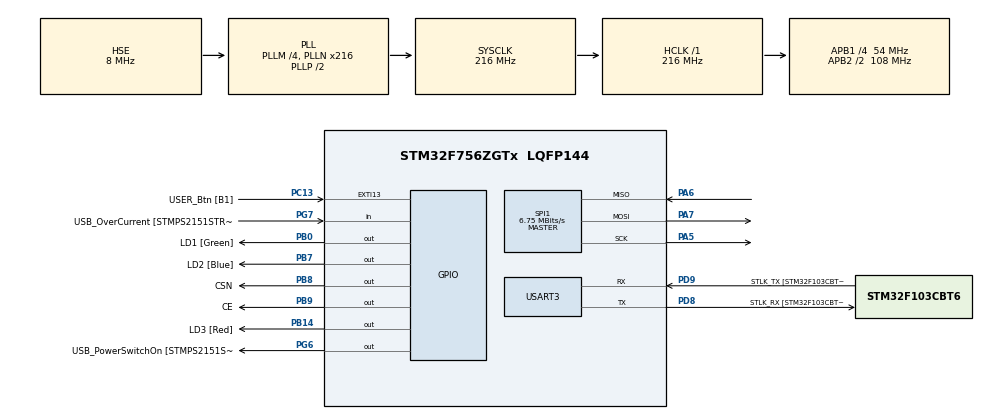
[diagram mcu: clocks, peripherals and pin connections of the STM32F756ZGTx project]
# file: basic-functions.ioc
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Mcu.Family=STM32F7
Mcu.Name=STM32F756ZGTx
Mcu.Package=LQFP144
NVIC.PriorityGroup=NVIC_PRIORITYGROUP_4
PA1.GPIO_Label=RMII_REF_CLK [LAN8742A-CZ-TR_REFCLK0]
PA1.Signal=ETH_REF_CLK
PA10.GPIO_Label=USB_ID
PA10.Signal=USB_OTG_FS_ID
PA11.GPIO_Label=USB_DM
PA11.Signal=USB_OTG_FS_DM
PA12.GPIO_Label=USB_DP
PA12.Signal=USB_OTG_FS_DP
PA13.GPIO_Label=TMS
PA13.Mode=Serial_Wire
PA13.Signal=SYS_JTMS-SWDIO
PA14.GPIO_Label=TCK
PA14.Mode=Serial_Wire
PA14.Signal=SYS_JTCK-SWCLK
PA2.GPIO_Label=RMII_MDIO [LAN8742A-CZ-TR_MDIO]
PA2.Signal=ETH_MDIO
PA5.Mode=Full_Duplex_Master
PA5.Signal=SPI1_SCK
PA6.Mode=Full_Duplex_Master
PA6.Signal=SPI1_MISO
PA7.Mode=Full_Duplex_Master
PA7.Signal=SPI1_MOSI
PA8.GPIO_Label=USB_SOF [TP1]
PA8.Signal=USB_OTG_FS_SOF
PA9.GPIO_Label=USB_VBUS
PA9.Signal=USB_OTG_FS_VBUS
PB0.GPIO_Label=LD1 [Green]
PB0.Signal=GPIO_Output
PB13.GPIO_Label=RMII_TXD1 [LAN8742A-CZ-TR_TXD1]
PB13.Signal=ETH_TXD1
PB14.GPIO_Label=LD3 [Red]
PB14.Signal=GPIO_Output
PB3.GPIO_Label=SW0
PB3.Signal=SYS_JTDO-SWO
PB7.GPIO_Label=LD2 [Blue]
PB7.Signal=GPIO_Output
PB8.GPIO_Label=CSN
PB8.Signal=GPIO_Output
PB9.GPIO_Label=CE
PB9.GPIO_Speed=GPIO_SPEED_FREQ_MEDIUM
PB9.Signal=GPIO_Output
PC1.GPIO_Label=RMII_MDC [LAN8742A-CZ-TR_MDC]
PC1.Signal=ETH_MDC
PC13.GPIO_Label=USER_Btn [B1]
PC13.Signal=GPXTI13
PC14/OSC32_IN.Mode=LSE-External-Oscillator
PC14/OSC32_IN.Signal=RCC_OSC32_IN
PC15/OSC32_OUT.Mode=LSE-External-Oscillator
PC15/OSC32_OUT.Signal=RCC_OSC32_OUT
PC4.GPIO_Label=RMII_RXD0 [LAN8742A-CZ-TR_RXD0]
PC4.Signal=ETH_RXD0
PC5.GPIO_Label=RMII_RXD1 [LAN8742A-CZ-TR_RXD1]
PC5.Signal=ETH_RXD1
PD8.GPIO_Label=STLK_RX [STM32F103CBT6_PA3]
PD8.Mode=Asynchronous
PD8.Signal=USART3_TX
PD9.GPIO_Label=STLK_TX [STM32F103CBT6_PA2]
PD9.Mode=Asynchronous
PD9.Signal=USART3_RX
PG11.GPIO_Label=RMII_TX_EN [LAN8742A-CZ-TR_TXEN]
PG11.Signal=ETH_TX_EN
PG13.GPIO_Label=RMII_TXD0 [LAN8742A-CZ-TR_TXD0]
PG13.Signal=ETH_TXD0
PG6.GPIO_Label=USB_PowerSwitchOn [STMPS2151STR_EN]
PG6.Signal=GPIO_Output
PG7.GPIO_Label=USB_OverCurrent [STMPS2151STR_FAULT]
PG7.Signal=GPIO_Input
PH0/OSC_IN.GPIO_Label=MCO [STM32F103CBT6_PA8]
PH0/OSC_IN.Mode=HSE-External-Clock-Source
PH0/OSC_IN.Signal=RCC_OSC_IN
PH1/OSC_OUT.Mode=HSE-External-Clock-Source
PH1/OSC_OUT.Signal=RCC_OSC_OUT
ProjectManager.HeapSize=0x200
ProjectManager.StackSize=0x400
ProjectManager.TargetToolchain=CMake
RCC.48MHZClocksFreq_Value=24000000
RCC.AHBFreq_Value=216000000
RCC.APB1CLKDivider=RCC_HCLK_DIV4
RCC.APB1Freq_Value=54000000
RCC.APB1TimFreq_Value=108000000
RCC.APB2CLKDivider=RCC_HCLK_DIV2
RCC.APB2Freq_Value=108000000
RCC.APB2TimFreq_Value=216000000
RCC.CortexFreq_Value=216000000
RCC.HCLKFreq_Value=216000000
RCC.HSE_VALUE=8000000
RCC.HSI_VALUE=16000000
RCC.PLLM=4
RCC.PLLMUL=RCC_PLL_MUL9
RCC.PLLN=216
RCC.PLLQ=9
RCC.PLLSourceVirtual=RCC_PLLSOURCE_HSE
RCC.PRESCALERUSB=RCC_USBCLKSOURCE_PLL_DIV1_5
RCC.SYSCLKFreq_VALUE=216000000
RCC.SYSCLKSource=RCC_SYSCLKSOURCE_PLLCLK
RCC.SYSCLKSourceVirtual=RCC_SYSCLKSOURCE_PLLCLK
RCC.USBFreq_Value=48000000
RCC.VCOOutputFreq_Value=432000000
SPI1.BaudRatePrescaler=SPI_BAUDRATEPRESCALER_16
SPI1.CalculateBaudRate=6.75 MBits/s
SPI1.DataSize=SPI_DATASIZE_8BIT
SPI1.Direction=SPI_DIRECTION_2LINES
SPI1.Mode=SPI_MODE_MASTER
SPI1.NSSPMode=SPI_NSS_PULSE_DISABLE
SPI1.VirtualType=VM_MASTER
TIM2.AutoReloadPreload=TIM_AUTORELOAD_PRELOAD_ENABLE
TIM2.Channel-Output\ Compare1\ No\ Output=TIM_CHANNEL_1
TIM2.Period=0xffffffff
USART3.VirtualMode-Asynchronous=VM_ASYNC
VP_TIM2_VS_ClockSourceINT.Mode=Internal
VP_TIM2_VS_no_output1.Mode=Output Compare1 No Output
board=NUCLEO-F756ZG

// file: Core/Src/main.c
/* USER CODE BEGIN Header */
/**
  ******************************************************************************
  * @file           : main.c
  * @brief          : Main program body
  ******************************************************************************
  * @attention
  *
  * Copyright (c) 2025 STMicroelectronics.
  * All rights reserved.
  *
  * This software is licensed under terms that can be found in the LICENSE file
  * in the root directory of this software component.
  * If no LICENSE file comes with this software, it is provided AS-IS.
  *
  ******************************************************************************
  */
/* USER CODE END Header */
#include "main.h"

/* USER CODE BEGIN Includes */
#include "inc/hal/config.h"
#include "inc/nRF24.h"
#include "stdarg.h"
#include "stdlib.h"
#include "stdio.h"

/* USER CODE END Includes */

SPI_HandleTypeDef hspi1;

TIM_HandleTypeDef htim2;

UART_HandleTypeDef huart3;

/* USER CODE BEGIN PV */

// Implement the low-level putchar function
int __io_putchar(int ch)
{
    // Transmit one character via UART (blocking)
    HAL_UART_Transmit(&huart3, (uint8_t *)&ch, 1, HAL_MAX_DELAY);
    return ch;
}

// Redirect printf to use __io_putchar
int fputc(int ch, FILE *f)
{
  return __io_putchar(ch);
}
/* USER CODE END PV */

void SystemClock_Config(void);
static void MX_GPIO_Init(void);
static void MX_SPI1_Init(void);
static void MX_USART3_UART_Init(void);
static void MX_TIM2_Init(void);

/* USER CODE BEGIN 0 */
uint8_t address[][6] = { "1Node", "2Node" };
// nrf24_cfg_t config = NRF24_DEFAULT_CFG(8, 9);
nrf24_cfg_t config = NRF24_DEFAULT_CFG((uint8_t)STM_GPIO_ENCODE(1, 8), (uint8_t)STM_GPIO_ENCODE(1, 9));

extern const machine_t *machine;
static spi_handle_t *_spi1;

uint32_t lastShown = 0;
uint32_t totalBytes = 0;
uint32_t lastBytes = 0;

/* USER CODE END 0 */

int main(void)
{

  /* MCU Configuration--------------------------------------------------------*/

  /* Reset of all peripherals, Initializes the Flash interface and the Systick. */
  HAL_Init();

  /* Configure the system clock */
  SystemClock_Config();

  /* Initialize all configured peripherals */
  MX_GPIO_Init();
  MX_SPI1_Init();
  MX_USART3_UART_Init();
  MX_TIM2_Init();
  /* USER CODE BEGIN 2 */
  HAL_Delay(2000);

  nRF24_halInit(&machine);

  _spi1 = machine->spi.open(0, 10, 0);
  nrf24_status_t a = nRF24_init(_spi1, &config);

  printf("init retured: %d\r\n", a);

  uint8_t *buffer = (uint8_t *)malloc(32);
  /* USER CODE END 2 */

  /* Infinite loop */
  /* USER CODE BEGIN WHILE */
  nRF24_setDataRate(NRF24_1MBPS);
  nRF24_setAddressWidth(5u);
  nRF24_setPALevel(NRF24_PA_MIN, true);
  nRF24_setAutoAck(false);

  nRF24_setCrcLength(NRF24_CRC_8);

  nRF24_setChannel(100u);
  nRF24_setPayloadSize(32u);

  nRF24_openWritingPipe(address[!false]);
  nRF24_stopListening();

  nRF24_openReadingPipe(1, (const uint8_t *)address[false]);
  nRF24_startListening();
  nRF24_flushRx();

  while (1) {
    /* USER CODE END WHILE */

    /* USER CODE BEGIN 3 */

    if (nRF24_available()){
      nRF24_read(buffer, 32);
      totalBytes += 32u;
    }

    if ((machine->time.millis() - lastShown) > 1e3){
      uint32_t diff = (totalBytes - lastBytes);
      lastBytes = totalBytes;

      printf("[Stats] Data rate: %lu bytes/s (total: %lu)\r\n", (unsigned long)diff, (unsigned long)totalBytes);

      lastShown = machine->time.millis();
    }
  }
  /* USER CODE END 3 */
}

void SystemClock_Config(void)
{
  RCC_OscInitTypeDef RCC_OscInitStruct = {0};
  RCC_ClkInitTypeDef RCC_ClkInitStruct = {0};

  /** Configure LSE Drive Capability
  */
  HAL_PWR_EnableBkUpAccess();

  /** Configure the main internal regulator output voltage
  */
  __HAL_RCC_PWR_CLK_ENABLE();
  __HAL_PWR_VOLTAGESCALING_CONFIG(PWR_REGULATOR_VOLTAGE_SCALE1);

  /** Initializes the RCC Oscillators according to the specified parameters
  * in the RCC_OscInitTypeDef structure.
  */
  RCC_OscInitStruct.OscillatorType = RCC_OSCILLATORTYPE_HSE;
  RCC_OscInitStruct.HSEState = RCC_HSE_BYPASS;
  RCC_OscInitStruct.PLL.PLLState = RCC_PLL_ON;
  RCC_OscInitStruct.PLL.PLLSource = RCC_PLLSOURCE_HSE;
  RCC_OscInitStruct.PLL.PLLM = 4;
  RCC_OscInitStruct.PLL.PLLN = 216;
  RCC_OscInitStruct.PLL.PLLP = RCC_PLLP_DIV2;
  RCC_OscInitStruct.PLL.PLLQ = 9;
  if (HAL_RCC_OscConfig(&RCC_OscInitStruct) != HAL_OK)
  {
    Error_Handler();
  }

  /** Activate the Over-Drive mode
  */
  if (HAL_PWREx_EnableOverDrive() != HAL_OK)
  {
    Error_Handler();
  }

  /** Initializes the CPU, AHB and APB buses clocks
  */
  RCC_ClkInitStruct.ClockType = RCC_CLOCKTYPE_HCLK|RCC_CLOCKTYPE_SYSCLK
                              |RCC_CLOCKTYPE_PCLK1|RCC_CLOCKTYPE_PCLK2;
  RCC_ClkInitStruct.SYSCLKSource = RCC_SYSCLKSOURCE_PLLCLK;
  RCC_ClkInitStruct.AHBCLKDivider = RCC_SYSCLK_DIV1;
  RCC_ClkInitStruct.APB1CLKDivider = RCC_HCLK_DIV4;
  RCC_ClkInitStruct.APB2CLKDivider = RCC_HCLK_DIV2;

  if (HAL_RCC_ClockConfig(&RCC_ClkInitStruct, FLASH_LATENCY_7) != HAL_OK)
  {
    Error_Handler();
  }
}

static void MX_SPI1_Init(void)
{

  /* SPI1 parameter configuration*/
  hspi1.Instance = SPI1;
  hspi1.Init.Mode = SPI_MODE_MASTER;
  hspi1.Init.Direction = SPI_DIRECTION_2LINES;
  hspi1.Init.DataSize = SPI_DATASIZE_8BIT;
  hspi1.Init.CLKPolarity = SPI_POLARITY_LOW;
  hspi1.Init.CLKPhase = SPI_PHASE_1EDGE;
  hspi1.Init.NSS = SPI_NSS_SOFT;
  hspi1.Init.BaudRatePrescaler = SPI_BAUDRATEPRESCALER_16;
  hspi1.Init.FirstBit = SPI_FIRSTBIT_MSB;
  hspi1.Init.TIMode = SPI_TIMODE_DISABLE;
  hspi1.Init.CRCCalculation = SPI_CRCCALCULATION_DISABLE;
  hspi1.Init.CRCPolynomial = 7;
  hspi1.Init.CRCLength = SPI_CRC_LENGTH_DATASIZE;
  hspi1.Init.NSSPMode = SPI_NSS_PULSE_DISABLE;
  if (HAL_SPI_Init(&hspi1) != HAL_OK)
  {
    Error_Handler();
  }

}

static void MX_TIM2_Init(void)
{

  TIM_ClockConfigTypeDef sClockSourceConfig = {0};
  TIM_MasterConfigTypeDef sMasterConfig = {0};
  TIM_OC_InitTypeDef sConfigOC = {0};

  htim2.Instance = TIM2;
  htim2.Init.Prescaler = 0;
  htim2.Init.CounterMode = TIM_COUNTERMODE_UP;
  htim2.Init.Period = 0xffffffff;
  htim2.Init.ClockDivision = TIM_CLOCKDIVISION_DIV1;
  htim2.Init.AutoReloadPreload = TIM_AUTORELOAD_PRELOAD_ENABLE;
  if (HAL_TIM_Base_Init(&htim2) != HAL_OK)
  {
    Error_Handler();
  }
  sClockSourceConfig.ClockSource = TIM_CLOCKSOURCE_INTERNAL;
  if (HAL_TIM_ConfigClockSource(&htim2, &sClockSourceConfig) != HAL_OK)
  {
    Error_Handler();
  }
  if (HAL_TIM_OC_Init(&htim2) != HAL_OK)
  {
    Error_Handler();
  }
  sMasterConfig.MasterOutputTrigger = TIM_TRGO_RESET;
  sMasterConfig.MasterSlaveMode = TIM_MASTERSLAVEMODE_DISABLE;
  if (HAL_TIMEx_MasterConfigSynchronization(&htim2, &sMasterConfig) != HAL_OK)
  {
    Error_Handler();
  }
  sConfigOC.OCMode = TIM_OCMODE_TIMING;
  sConfigOC.Pulse = 0;
  sConfigOC.OCPolarity = TIM_OCPOLARITY_HIGH;
  sConfigOC.OCFastMode = TIM_OCFAST_DISABLE;
  if (HAL_TIM_OC_ConfigChannel(&htim2, &sConfigOC, TIM_CHANNEL_1) != HAL_OK)
  {
    Error_Handler();
  }

}

static void MX_USART3_UART_Init(void)
{

  huart3.Instance = USART3;
  huart3.Init.BaudRate = 115200;
  huart3.Init.WordLength = UART_WORDLENGTH_8B;
  huart3.Init.StopBits = UART_STOPBITS_1;
  huart3.Init.Parity = UART_PARITY_NONE;
  huart3.Init.Mode = UART_MODE_TX_RX;
  huart3.Init.HwFlowCtl = UART_HWCONTROL_NONE;
  huart3.Init.OverSampling = UART_OVERSAMPLING_16;
  huart3.Init.OneBitSampling = UART_ONE_BIT_SAMPLE_DISABLE;
  huart3.AdvancedInit.AdvFeatureInit = UART_ADVFEATURE_NO_INIT;
  if (HAL_UART_Init(&huart3) != HAL_OK)
  {
    Error_Handler();
  }

}

static void MX_GPIO_Init(void)
{
  GPIO_InitTypeDef GPIO_InitStruct = {0};

  /* GPIO Ports Clock Enable */
  __HAL_RCC_GPIOC_CLK_ENABLE();
  __HAL_RCC_GPIOH_CLK_ENABLE();
  __HAL_RCC_GPIOA_CLK_ENABLE();
  __HAL_RCC_GPIOB_CLK_ENABLE();
  __HAL_RCC_GPIOD_CLK_ENABLE();
  __HAL_RCC_GPIOG_CLK_ENABLE();

  /*Configure GPIO pin Output Level */
  HAL_GPIO_WritePin(GPIOB, LD1_Pin|LD3_Pin|LD2_Pin|CSN_Pin
                          |CE_Pin, GPIO_PIN_RESET);

  /*Configure GPIO pin Output Level */
  HAL_GPIO_WritePin(USB_PowerSwitchOn_GPIO_Port, USB_PowerSwitchOn_Pin, GPIO_PIN_RESET);

  /*Configure GPIO pin : USER_Btn_Pin */
  GPIO_InitStruct.Pin = USER_Btn_Pin;
  GPIO_InitStruct.Mode = GPIO_MODE_IT_RISING;
  GPIO_InitStruct.Pull = GPIO_NOPULL;
  HAL_GPIO_Init(USER_Btn_GPIO_Port, &GPIO_InitStruct);

  /*Configure GPIO pins : RMII_MDC_Pin RMII_RXD0_Pin RMII_RXD1_Pin */
  GPIO_InitStruct.Pin = RMII_MDC_Pin|RMII_RXD0_Pin|RMII_RXD1_Pin;
  GPIO_InitStruct.Mode = GPIO_MODE_AF_PP;
  GPIO_InitStruct.Pull = GPIO_NOPULL;
  GPIO_InitStruct.Speed = GPIO_SPEED_FREQ_VERY_HIGH;
  GPIO_InitStruct.Alternate = GPIO_AF11_ETH;
  HAL_GPIO_Init(GPIOC, &GPIO_InitStruct);

  /*Configure GPIO pins : RMII_REF_CLK_Pin RMII_MDIO_Pin */
  GPIO_InitStruct.Pin = RMII_REF_CLK_Pin|RMII_MDIO_Pin;
  GPIO_InitStruct.Mode = GPIO_MODE_AF_PP;
  GPIO_InitStruct.Pull = GPIO_NOPULL;
  GPIO_InitStruct.Speed = GPIO_SPEED_FREQ_VERY_HIGH;
  GPIO_InitStruct.Alternate = GPIO_AF11_ETH;
  HAL_GPIO_Init(GPIOA, &GPIO_InitStruct);

  /*Configure GPIO pins : LD1_Pin LD3_Pin LD2_Pin CSN_Pin */
  GPIO_InitStruct.Pin = LD1_Pin|LD3_Pin|LD2_Pin|CSN_Pin;
  GPIO_InitStruct.Mode = GPIO_MODE_OUTPUT_PP;
  GPIO_InitStruct.Pull = GPIO_NOPULL;
  GPIO_InitStruct.Speed = GPIO_SPEED_FREQ_LOW;
  HAL_GPIO_Init(GPIOB, &GPIO_InitStruct);

  /*Configure GPIO pin : RMII_TXD1_Pin */
  GPIO_InitStruct.Pin = RMII_TXD1_Pin;
  GPIO_InitStruct.Mode = GPIO_MODE_AF_PP;
  GPIO_InitStruct.Pull = GPIO_NOPULL;
  GPIO_InitStruct.Speed = GPIO_SPEED_FREQ_VERY_HIGH;
  GPIO_InitStruct.Alternate = GPIO_AF11_ETH;
  HAL_GPIO_Init(RMII_TXD1_GPIO_Port, &GPIO_InitStruct);

  /*Configure GPIO pin : USB_PowerSwitchOn_Pin */
  GPIO_InitStruct.Pin = USB_PowerSwitchOn_Pin;
  GPIO_InitStruct.Mode = GPIO_MODE_OUTPUT_PP;
  GPIO_InitStruct.Pull = GPIO_NOPULL;
  GPIO_InitStruct.Speed = GPIO_SPEED_FREQ_LOW;
  HAL_GPIO_Init(USB_PowerSwitchOn_GPIO_Port, &GPIO_InitStruct);

  /*Configure GPIO pin : USB_OverCurrent_Pin */
  GPIO_InitStruct.Pin = USB_OverCurrent_Pin;
  GPIO_InitStruct.Mode = GPIO_MODE_INPUT;
  GPIO_InitStruct.Pull = GPIO_NOPULL;
  HAL_GPIO_Init(USB_OverCurrent_GPIO_Port, &GPIO_InitStruct);

  /*Configure GPIO pins : USB_SOF_Pin USB_ID_Pin USB_DM_Pin USB_DP_Pin */
  GPIO_InitStruct.Pin = USB_SOF_Pin|USB_ID_Pin|USB_DM_Pin|USB_DP_Pin;
  GPIO_InitStruct.Mode = GPIO_MODE_AF_PP;
  GPIO_InitStruct.Pull = GPIO_NOPULL;
  GPIO_InitStruct.Speed = GPIO_SPEED_FREQ_VERY_HIGH;
  GPIO_InitStruct.Alternate = GPIO_AF10_OTG_FS;
  HAL_GPIO_Init(GPIOA, &GPIO_InitStruct);

  /*Configure GPIO pin : USB_VBUS_Pin */
  GPIO_InitStruct.Pin = USB_VBUS_Pin;
  GPIO_InitStruct.Mode = GPIO_MODE_INPUT;
  GPIO_InitStruct.Pull = GPIO_NOPULL;
  HAL_GPIO_Init(USB_VBUS_GPIO_Port, &GPIO_InitStruct);

  /*Configure GPIO pins : RMII_TX_EN_Pin RMII_TXD0_Pin */
  GPIO_InitStruct.Pin = RMII_TX_EN_Pin|RMII_TXD0_Pin;
  GPIO_InitStruct.Mode = GPIO_MODE_AF_PP;
  GPIO_InitStruct.Pull = GPIO_NOPULL;
  GPIO_InitStruct.Speed = GPIO_SPEED_FREQ_VERY_HIGH;
  GPIO_InitStruct.Alternate = GPIO_AF11_ETH;
  HAL_GPIO_Init(GPIOG, &GPIO_InitStruct);

  /*Configure GPIO pin : CE_Pin */
  GPIO_InitStruct.Pin = CE_Pin;
  GPIO_InitStruct.Mode = GPIO_MODE_OUTPUT_PP;
  GPIO_InitStruct.Pull = GPIO_NOPULL;
  GPIO_InitStruct.Speed = GPIO_SPEED_FREQ_MEDIUM;
  HAL_GPIO_Init(CE_GPIO_Port, &GPIO_InitStruct);

}

void Error_Handler(void)
{
  __disable_irq();
  while (1)
  {
  }
}
